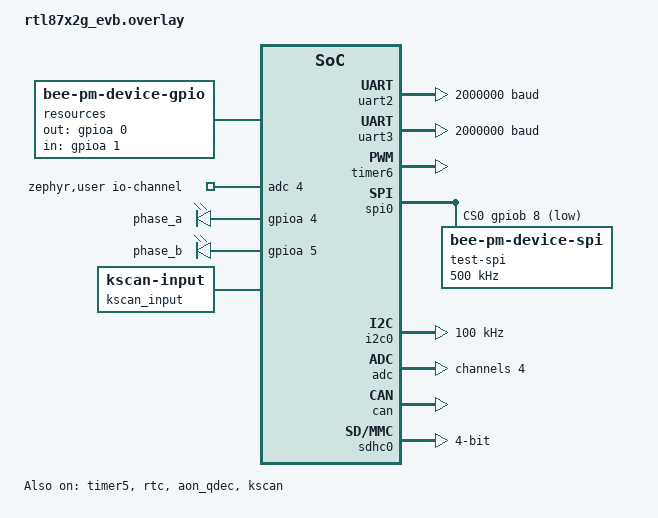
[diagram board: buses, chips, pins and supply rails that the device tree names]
/*
 * Copyright(c) 2025, Realtek Semiconductor Corporation.
 *
 * SPDX-License-Identifier: Apache-2.0
 */
#include <zephyr/dt-bindings/gpio/realtek-bee-gpio.h>
#include <zephyr/dt-bindings/input/input-event-codes.h>
#include <zephyr/dt-bindings/input/keymap.h>
#include <zephyr/dt-bindings/led/led.h>
#include <zephyr/dt-bindings/i2c/i2c.h>

/*
 * P0_0 GPIO(TEST OUT)
 * P0_1 GPIO(TEST IN)
 * P0_2 PWM6
 * P0_4 GPIO(TEST AON_QDECX)
 * P0_5 GPIO(TEST AON_QDECX)
 * P0_6 KSCAN_R0
 * P0_7 KSCAN_R1
 * P1_0 SWD
 * P1_1 SWD
 * P1_2
 * P1_3 AON_QDECX_A
 * P1_4 AON_QDECX_B
 * P1_5
 * P1_6
 * P1_7
 * P2_2 I2C0_CLK
 * P2_3 I2C0_DAT
 * P2_4 ADC
 * P2_6 KSCAN_C0
 * P2_7 KSCAN_C1
 * P3_0
 * P3_1
 * P3_2 UART2_TX
 * P3_3 UART2_RX
 * P3_4 CAN_TX
 * P3_5 CAN_RX
 * P3_6
 * P3_7
 * P4_0 SPI0_CLK
 * P4_1 SPI0_MO
 * P4_2 SPI0_MI
 * P4_3 GPIO(SPI0_CS)
 * P4_4 UART3_TX(DMA)
 * P4_5 UART3_RX(DMA)
 * P4_6
 * P4_7
 * P5_0
 * P5_1
 * P5_2
 * P5_3
 * P5_4
 * P5_5
 * P9_3 SDHC
 * P9_4 SDHC
 * P9_5 SDHC
 * P9_6 SDHC
 * P9_7 SDHC
 * P10_0 SDHC
 */

/ {
	resources {
		compatible = "bee-pm-device-gpio";
		// P0_0
		out-gpios = <&gpioa 0 GPIO_ACTIVE_HIGH>;
		// P0_1
		in-gpios =
		<&gpioa 1 (GPIO_ACTIVE_HIGH
				| BEE_GPIO_INPUT_DEBOUNCE_MS(8)
				| BEE_GPIO_INPUT_PM_WAKEUP)>;
	};

	chosen {
		zephyr,keyboard-scan = &kscan_input;
	};

	zephyr,user {
		io-channels = <&adc 4>;
	};

	aliases {
		test-uart-dma = &uart3;
		test-counter-timer = &timer5;
		test-pwm = &pwm6;
		test-rtc = &rtc;
		test-aon-qdec = &aon_qdec;
		test-qenca = &phase_a;
		test-qencb = &phase_b;
		test-i2c = &i2c0;
		test-can = &can;
		test-sdmmc = &sdhc0;
	};

	encoder-emulate {
		compatible = "gpio-leds";
		phase_a: phase_a {
		// P0_4
		gpios = <&gpioa 4 GPIO_ACTIVE_HIGH>;
		};
		phase_b: phase_b {
		// P0_5
		gpios = <&gpioa 5 GPIO_ACTIVE_HIGH>;
		};
	};
};

&uart2 {
	pinctrl-0 = <&uart2_default>;
	pinctrl-1 = <&uart2_sleep>;
	pinctrl-names = "default", "sleep";
	status = "okay";
	current-speed = <2000000>;
	parity = "none";
	stop-bits = "1";
	data-bits = <8>;
};

&uart3 {
	pinctrl-0 = <&uart3_default>;
	pinctrl-1 = <&uart3_sleep>;
	pinctrl-names = "default", "sleep";
	status = "okay";
	current-speed = <2000000>;
	parity = "none";
	stop-bits = "1";
	data-bits = <8>;
	dmas = <&dma0 0 7 0xa>, <&dma0 1 6 0x10021>;
	dma-names = "rx", "tx";
};

&dma0 {
	status = "okay";
};

&gpioa {
	status = "okay";
};

&gpiob {
	status = "okay";
};

&timer5 {
	status = "okay";
	prescaler = <1>;
};

&timer6 {
	status = "okay";
	prescaler = <1>;
	pwm6: pwm6 {
			status = "okay";
			pinctrl-0 = <&pwm6_default>;
			pinctrl-names = "default";
	};
};

&spi0 {
	status = "okay";
	pinctrl-0 = <&spi0_default>;
	pinctrl-names = "default";
	// P4_3
	cs-gpios = <&gpiob 8 GPIO_ACTIVE_LOW>;
	test-spi@0 {
		compatible = "bee-pm-device-spi";
		reg = <0>;
		spi-max-frequency = <500000>;
	};
};

&i2c0 {
	pinctrl-0 = <&i2c0_default>;
	pinctrl-1 = <&i2c0_sleep>;
	pinctrl-names = "default", "sleep";
	clock-frequency = <I2C_BITRATE_STANDARD>;
	status = "okay";
};

&rtc {
	status = "okay";
	prescaler = <3200>;
};

&aon_qdec {
	status = "okay";
	x-counts-per-revolution = <4>;
	x-debounce-time-ms = <5>;
	pinctrl-0 = <&aon_qdec_default>;
	pinctrl-names = "default";
};

&kscan {
	pinctrl-0 = <&input_kscan_default>;
	pinctrl-1 = <&input_kscan_sleep>;
	pinctrl-names = "default", "sleep";
	row-size = <2>;
	col-size = <2>;
	debounce-time-us = <20000>;
	scan-time-us = <20000>;
	release-time-us = <5000>;
	scan-debounce-cnt = <0>;
	status = "okay";
	kscan_input: kscan-input {
		compatible = "zephyr,kscan-input";
	};
	keymap {
		compatible = "input-keymap";
		keymap = <
			MATRIX_KEY(0, 0, INPUT_KEY_1)
			MATRIX_KEY(0, 1, INPUT_KEY_2)
			MATRIX_KEY(1, 0, INPUT_KEY_3)
			MATRIX_KEY(1, 1, INPUT_KEY_4)
		>;
		row-size = <2>;
		col-size = <2>;
	};
};

&adc {
	pinctrl-0 = <&adc_default>;
	pinctrl-names = "default";
	#address-cells = <1>;
	#size-cells = <0>;
	status = "okay";
	channel@4 {
		reg = <4>;
		zephyr,gain = "ADC_GAIN_1";
		zephyr,reference = "ADC_REF_INTERNAL";
		zephyr,acquisition-time = <ADC_ACQ_TIME_DEFAULT>;
		zephyr,resolution = <12>;
	};
};

&can {
	pinctrl-0 = <&can_default>;
	pinctrl-1 = <&can_sleep>;
	pinctrl-names = "default", "sleep";
	status = "okay";
};

&sdhc0 {
	pin-group = <0>;
	bus-width = <4>;
	max-bus-freq = <20000000>;
	power-delay-ms = <0>;
	pinctrl-0 = <&sdhc0_default>;
	pinctrl-names = "default";
	status = "okay";
};

&pinctrl {
	uart2_default: uart2_default {
		group1 {
			psels = <BEE_PSEL(UART2_TX, P3_2, DIR_OUT, DRV_HIGH, PULL_UP)>,
			<BEE_PSEL(UART2_RX, P3_3, DIR_IN, DRV_HIGH, PULL_UP)>;
		};
	};

	uart2_sleep: uart2_sleep {
		group1 {
			psels = <BEE_PSEL(SW_MODE, P3_2, DIR_OUT, DRV_HIGH, PULL_UP)>;
		};
		group2 {
			psels = <BEE_PSEL(SW_MODE, P3_3, DIR_IN, DRV_HIGH, PULL_UP)>;
			wakeup-low;
		};
	};

	uart3_default: uart3_default {
		group1 {
			psels = <BEE_PSEL(UART3_TX, P4_4, DIR_OUT, DRV_HIGH, PULL_UP)>,
			<BEE_PSEL(UART3_RX, P4_5, DIR_IN, DRV_HIGH, PULL_UP)>;
		};
	};

	uart3_sleep: uart3_sleep {
		group1 {
			psels = <BEE_PSEL(SW_MODE, P4_4, DIR_OUT, DRV_HIGH, PULL_UP)>;
		};
		group2 {
			psels = <BEE_PSEL(SW_MODE, P4_5, DIR_IN, DRV_HIGH, PULL_UP)>;
			wakeup-low;
		};
	};

	spi0_default: spi0_default {
		group1 {
			psels = <BEE_PSEL(SPI0_CLK_MASTER, P4_0, DIR_OUT, DRV_HIGH, PULL_UP)>,
			<BEE_PSEL(SPI0_MO_MASTER, P4_1, DIR_OUT, DRV_HIGH, PULL_UP)>,
			<BEE_PSEL(SPI0_MI_MASTER, P4_2, DIR_OUT, DRV_HIGH, PULL_UP)>;
		};
	};

	pwm6_default: pwm6_default {
		group1 {
			psels = <BEE_PSEL(TIMER_PWM6, P0_2, DIR_OUT, DRV_HIGH, PULL_UP)>;
		};
	};

	aon_qdec_default: aon_qdec_default {
		group1 {
			psels = <BEE_PSEL(QDPH0_IN_P1_3_P1_4, P1_3, DIR_IN, DRV_LOW, PULL_NONE)>,
			<BEE_PSEL(QDPH0_IN_P1_3_P1_4, P1_4, DIR_IN, DRV_LOW, PULL_NONE)>;
		};
	};

	i2c0_default: i2c0_default {
		group1 {
			psels = <BEE_PSEL(I2C0_CLK, P2_2, DIR_OUT, DRV_HIGH, PULL_UP)>,
			<BEE_PSEL(I2C0_DAT, P2_3, DIR_OUT, DRV_HIGH, PULL_UP)>;
		};
	};

	i2c0_sleep: i2c0_sleep {
		group1 {
			psels = <BEE_PSEL(SW_MODE, P2_2, DIR_OUT, DRV_HIGH, PULL_UP)>,
			<BEE_PSEL(SW_MODE, P2_3, DIR_OUT, DRV_HIGH, PULL_UP)>;
		};
	};

	input_kscan_default: input_kscan_default {
		group1 {
			psels = <BEE_PSEL(KEY_COL_0, P0_6, DIR_OUT, DRV_LOW, PULL_NONE)>,
			<BEE_PSEL(KEY_COL_1, P0_7, DIR_OUT, DRV_LOW, PULL_NONE)>;
		};
		group2 {
			psels = <BEE_PSEL(KEY_ROW_0, P2_6, DIR_IN, DRV_HIGH, PULL_UP)>,
			<BEE_PSEL(KEY_ROW_1, P2_7, DIR_IN, DRV_HIGH, PULL_UP)>;
			bias-pull-strong;
		};
	};

	input_kscan_sleep: input_kscan_sleep {
		group1 {
			psels = <BEE_PSEL(SW_MODE, P0_6, DIR_OUT, DRV_LOW, PULL_NONE)>,
			<BEE_PSEL(SW_MODE, P0_7, DIR_OUT, DRV_LOW, PULL_NONE)>;
		};
		group2 {
			psels = <BEE_PSEL(SW_MODE, P2_6, DIR_IN, DRV_HIGH, PULL_UP)>,
			<BEE_PSEL(SW_MODE, P2_7, DIR_IN, DRV_HIGH, PULL_UP)>;
			bias-pull-strong;
			wakeup-low;
		};
	};

	adc_default: adc_default {
		group1 {
			psels = <BEE_PSEL(SW_MODE, P2_4, DIR_IN, DRV_LOW, PULL_DOWN)>;
		};
	};

	can_default: can_default {
		group1 {
			psels = <BEE_PSEL(A2C_TX, P3_4, DIR_OUT, DRV_HIGH, PULL_NONE)>,
				<BEE_PSEL(A2C_RX, P3_5, DIR_OUT, DRV_HIGH, PULL_NONE)>;
		};
	};

	can_sleep: can_sleep {
		group1 {
			psels = <BEE_PSEL(SW_MODE, P3_4, DIR_OUT, DRV_HIGH, PULL_UP)>;
		};
		group2 {
			psels = <BEE_PSEL(SW_MODE, P3_5, DIR_IN, DRV_HIGH, PULL_UP)>;
			wakeup-low;
		};
	};

	sdhc0_default: sdhc0_default {
		group1 {
			psels = <BEE_PSEL(SDHC0_CLK_P9_4, P9_4, DIR_IN, DRV_HIGH, PULL_UP)>,
			<BEE_PSEL(SDHC0_CMD_P9_3, P9_3, DIR_IN, DRV_HIGH, PULL_UP)>,
			<BEE_PSEL(SDHC0_D0_P10_0, P10_0, DIR_IN, DRV_HIGH, PULL_UP)>,
			<BEE_PSEL(SDHC0_D1_P9_7, P9_7, DIR_IN, DRV_HIGH, PULL_UP)>,
			<BEE_PSEL(SDHC0_D2_P9_6, P9_6, DIR_IN, DRV_HIGH, PULL_UP)>,
			<BEE_PSEL(SDHC0_D3_P9_5, P9_5, DIR_IN, DRV_HIGH, PULL_UP)>;
			current-level = <1>;
		};
	};
};
